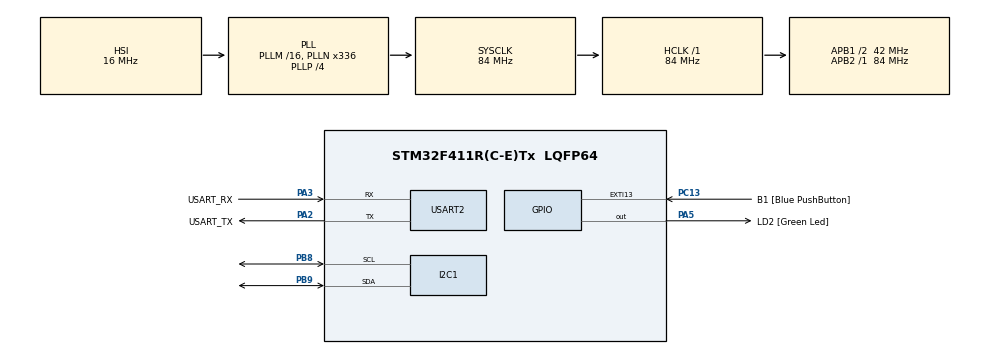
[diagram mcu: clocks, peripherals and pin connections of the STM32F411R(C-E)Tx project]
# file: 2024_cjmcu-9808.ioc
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Mcu.Family=STM32F4
Mcu.Name=STM32F411R(C-E)Tx
Mcu.Package=LQFP64
NVIC.PriorityGroup=NVIC_PRIORITYGROUP_0
PA13.GPIO_Label=TMS
PA13.Mode=Serial_Wire
PA13.Signal=SYS_JTMS-SWDIO
PA14.GPIO_Label=TCK
PA14.Mode=Serial_Wire
PA14.Signal=SYS_JTCK-SWCLK
PA2.GPIO_Label=USART_TX
PA2.Mode=Asynchronous
PA2.Signal=USART2_TX
PA3.GPIO_Label=USART_RX
PA3.Mode=Asynchronous
PA3.Signal=USART2_RX
PA5.GPIO_Label=LD2 [Green Led]
PA5.Signal=GPIO_Output
PB3.GPIO_Label=SWO
PB3.Signal=SYS_JTDO-SWO
PB8.Mode=I2C
PB8.Signal=I2C1_SCL
PB9.Mode=I2C
PB9.Signal=I2C1_SDA
PC13-ANTI_TAMP.GPIO_Label=B1 [Blue PushButton]
PC13-ANTI_TAMP.GPIO_ModeDefaultEXTI=GPIO_MODE_IT_FALLING
PC13-ANTI_TAMP.Signal=GPXTI13
PC14-OSC32_IN.Mode=LSE-External-Oscillator
PC14-OSC32_IN.Signal=RCC_OSC32_IN
PC15-OSC32_OUT.Mode=LSE-External-Oscillator
PC15-OSC32_OUT.Signal=RCC_OSC32_OUT
PH0\ -\ OSC_IN.Mode=HSE-External-Clock-Source
PH0\ -\ OSC_IN.Signal=RCC_OSC_IN
PH1\ -\ OSC_OUT.Mode=HSE-External-Clock-Source
PH1\ -\ OSC_OUT.Signal=RCC_OSC_OUT
ProjectManager.HeapSize=0x200
ProjectManager.StackSize=0x400
ProjectManager.TargetToolchain=STM32CubeIDE
RCC.48MHZClocksFreq_Value=84000000
RCC.AHBFreq_Value=84000000
RCC.APB1CLKDivider=RCC_HCLK_DIV2
RCC.APB1Freq_Value=42000000
RCC.APB1TimFreq_Value=84000000
RCC.APB2Freq_Value=84000000
RCC.APB2TimFreq_Value=84000000
RCC.CortexFreq_Value=84000000
RCC.FLatency-AdvancedSettings=FLASH_LATENCY_2
RCC.HCLKFreq_Value=84000000
RCC.HSE_VALUE=8000000
RCC.HSI_VALUE=16000000
RCC.PLLN=336
RCC.PLLP=RCC_PLLP_DIV4
RCC.SYSCLKFreq_VALUE=84000000
RCC.SYSCLKSource=RCC_SYSCLKSOURCE_PLLCLK
RCC.VCOOutputFreq_Value=336000000
USART2.VirtualMode=VM_ASYNC
board=NUCLEO-F411RE

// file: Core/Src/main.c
/*CJMCU connect vcc to 2.7 ~ 5.0, gnd, sda, scl*/

/* USER CODE BEGIN Header */
/**
 ******************************************************************************
 * @file           : main.c
 * @brief          : Main program body
 ******************************************************************************
 * @attention
 *
 * Copyright (c) 2024 STMicroelectronics.
 * All rights reserved.
 *
 * This software is licensed under terms that can be found in the LICENSE file
 * in the root directory of this software component.
 * If no LICENSE file comes with this software, it is provided AS-IS.
 *
 ******************************************************************************
 */
/* USER CODE END Header */
#include "main.h"

/* USER CODE BEGIN Includes */
#include <string.h>		//for strlen and string_copy
#include <stdio.h>		//for sprintf
/* USER CODE END Includes */

I2C_HandleTypeDef hi2c1;

UART_HandleTypeDef huart2;

/* USER CODE BEGIN PV */
static const uint8_t CJMCU_ADDR = 0x18 << 1; //default address

static const uint8_t AMBIENT_TEMPERATURE_REGISTER = 0x05; //0000 0101
/* USER CODE END PV */

void SystemClock_Config(void);
static void MX_GPIO_Init(void);
static void MX_USART2_UART_Init(void);
static void MX_I2C1_Init(void);
void decToBinary(int);
char buffer[40]; //buffer for sending and receiving data
uint8_t buffer_get_CJMCU[2]; //buffer for temperature reading

int16_t read_value_0CJMCU;	//raw value
int16_t read_value_FIXED_0CJMCU;
float read_value_FIXED_1CJMCU;
int16_t read_value_1CJMCU;
int16_t combinedCJMCU;
int16_t value_pos_negCJMCU;	//value_positive or negative
uint16_t read_value_BUF_0_INV_CJMCU;
uint16_t read_value_BUF_1_INV_CJMCU;
uint16_t read_value_inv_CJMCU;
uint8_t five_bits_of_readed_first_byte_CJMCU;

int main(void) {

	/* USER CODE BEGIN 1 */
	HAL_StatusTypeDef ret;

	float temp_in_c_all_CJMCU, temp_in_c_negative_CJMCU;
	unsigned short temp_c1_CJMCU;
	unsigned char sign_CJMCU;

	/* USER CODE END 1 */

	/* MCU Configuration--------------------------------------------------------*/

	/* Reset of all peripherals, Initializes the Flash interface and the Systick. */
	HAL_Init();

	/* Configure the system clock */
	SystemClock_Config();

	/* Initialize all configured peripherals */
	MX_GPIO_Init();
	MX_USART2_UART_Init();
	MX_I2C1_Init();

	/* Infinite loop */
	/* USER CODE BEGIN WHILE */
	while (1) {
		// Tell TMP102 that we want to read from the temperature register
		buffer_get_CJMCU[0] = AMBIENT_TEMPERATURE_REGISTER;
		ret = HAL_I2C_Master_Transmit(&hi2c1, CJMCU_ADDR, buffer_get_CJMCU, 1,
		HAL_MAX_DELAY);
		if (ret != HAL_OK) {
			strcpy((char*) buffer, "Error Tx\r\n");
		} else {

			// Read 2 bytes from the temperature register
			ret = HAL_I2C_Master_Receive(&hi2c1, CJMCU_ADDR, buffer_get_CJMCU, 2,
			HAL_MAX_DELAY);
			if (ret != HAL_OK) {
				strcpy((char*) buffer, "Error Rx\r\n");
			} else {

				//Read the bytes
				read_value_0CJMCU = ((int16_t) buffer_get_CJMCU[0] & ~(1 << 4) & ~(1 << 5)
						& ~(1 << 6) & ~(1 << 7));//because value is in first 4 bits
				read_value_1CJMCU = (int16_t) (buffer_get_CJMCU[1]);

				//create new variable because if we dont do it, program will do some errors and I can explain it
				read_value_FIXED_0CJMCU = read_value_0CJMCU;
				read_value_FIXED_1CJMCU = (float) read_value_1CJMCU;

				//to read temperature is positive or negative
				five_bits_of_readed_first_byte_CJMCU = (buffer_get_CJMCU[0] & ~(1 << 6)
						& ~(1 << 7) & ~(1 << 8));

				// If temperature will be negative it will be  over 0x0F by datasheet
				if (five_bits_of_readed_first_byte_CJMCU > 15) {
					sign_CJMCU = '-';

					//Convert the temperature data by datasheet (p.25)
					temp_in_c_negative_CJMCU = (read_value_FIXED_0CJMCU * 16)
							+ (read_value_FIXED_1CJMCU / 16);

					temp_in_c_all_CJMCU = 256 - temp_in_c_negative_CJMCU;
				} else {
					sign_CJMCU = '+';
					//Convert the temperature data by datasheet (p.25)
					temp_in_c_all_CJMCU = (read_value_FIXED_0CJMCU * 16)
							+ (read_value_FIXED_1CJMCU / 16);

				}
				// Convert temperature to decimal format
				temp_c1_CJMCU = temp_in_c_all_CJMCU * 100;

				sprintf(buffer, "CJMCU TEMPERATURE %c %d.%d  C\r\n", (sign_CJMCU),
						(temp_c1_CJMCU / 100), (temp_c1_CJMCU % 100));
				HAL_UART_Transmit(&huart2,(uint8_t*) buffer, sizeof(buffer),
						HAL_MAX_DELAY);
				// Wait
				HAL_Delay(500);

			}
		}

		/* USER CODE END WHILE */

	}
}

void SystemClock_Config(void) {
	RCC_OscInitTypeDef RCC_OscInitStruct = { 0 };
	RCC_ClkInitTypeDef RCC_ClkInitStruct = { 0 };

	/** Configure the main internal regulator output voltage
	 */
	__HAL_RCC_PWR_CLK_ENABLE();
	__HAL_PWR_VOLTAGESCALING_CONFIG(PWR_REGULATOR_VOLTAGE_SCALE1);

	/** Initializes the RCC Oscillators according to the specified parameters
	 * in the RCC_OscInitTypeDef structure.
	 */
	RCC_OscInitStruct.OscillatorType = RCC_OSCILLATORTYPE_HSI;
	RCC_OscInitStruct.HSIState = RCC_HSI_ON;
	RCC_OscInitStruct.HSICalibrationValue = RCC_HSICALIBRATION_DEFAULT;
	RCC_OscInitStruct.PLL.PLLState = RCC_PLL_ON;
	RCC_OscInitStruct.PLL.PLLSource = RCC_PLLSOURCE_HSI;
	RCC_OscInitStruct.PLL.PLLM = 16;
	RCC_OscInitStruct.PLL.PLLN = 336;
	RCC_OscInitStruct.PLL.PLLP = RCC_PLLP_DIV4;
	RCC_OscInitStruct.PLL.PLLQ = 4;
	if (HAL_RCC_OscConfig(&RCC_OscInitStruct) != HAL_OK) {
		Error_Handler();
	}

	/** Initializes the CPU, AHB and APB buses clocks
	 */
	RCC_ClkInitStruct.ClockType = RCC_CLOCKTYPE_HCLK | RCC_CLOCKTYPE_SYSCLK
			| RCC_CLOCKTYPE_PCLK1 | RCC_CLOCKTYPE_PCLK2;
	RCC_ClkInitStruct.SYSCLKSource = RCC_SYSCLKSOURCE_PLLCLK;
	RCC_ClkInitStruct.AHBCLKDivider = RCC_SYSCLK_DIV1;
	RCC_ClkInitStruct.APB1CLKDivider = RCC_HCLK_DIV2;
	RCC_ClkInitStruct.APB2CLKDivider = RCC_HCLK_DIV1;

	if (HAL_RCC_ClockConfig(&RCC_ClkInitStruct, FLASH_LATENCY_2) != HAL_OK) {
		Error_Handler();
	}
}

static void MX_I2C1_Init(void) {

	hi2c1.Instance = I2C1;
	hi2c1.Init.ClockSpeed = 100000;
	hi2c1.Init.DutyCycle = I2C_DUTYCYCLE_2;
	hi2c1.Init.OwnAddress1 = 0;
	hi2c1.Init.AddressingMode = I2C_ADDRESSINGMODE_7BIT;
	hi2c1.Init.DualAddressMode = I2C_DUALADDRESS_DISABLE;
	hi2c1.Init.OwnAddress2 = 0;
	hi2c1.Init.GeneralCallMode = I2C_GENERALCALL_DISABLE;
	hi2c1.Init.NoStretchMode = I2C_NOSTRETCH_DISABLE;
	if (HAL_I2C_Init(&hi2c1) != HAL_OK) {
		Error_Handler();
	}

}

static void MX_USART2_UART_Init(void) {

	huart2.Instance = USART2;
	huart2.Init.BaudRate = 115200;
	huart2.Init.WordLength = UART_WORDLENGTH_8B;
	huart2.Init.StopBits = UART_STOPBITS_1;
	huart2.Init.Parity = UART_PARITY_NONE;
	huart2.Init.Mode = UART_MODE_TX_RX;
	huart2.Init.HwFlowCtl = UART_HWCONTROL_NONE;
	huart2.Init.OverSampling = UART_OVERSAMPLING_16;
	if (HAL_UART_Init(&huart2) != HAL_OK) {
		Error_Handler();
	}

}

static void MX_GPIO_Init(void) {
	GPIO_InitTypeDef GPIO_InitStruct = { 0 };

	/* GPIO Ports Clock Enable */
	__HAL_RCC_GPIOC_CLK_ENABLE();
	__HAL_RCC_GPIOH_CLK_ENABLE();
	__HAL_RCC_GPIOA_CLK_ENABLE();
	__HAL_RCC_GPIOB_CLK_ENABLE();

	/*Configure GPIO pin Output Level */
	HAL_GPIO_WritePin(LD2_GPIO_Port, LD2_Pin, GPIO_PIN_RESET);

	/*Configure GPIO pin : B1_Pin */
	GPIO_InitStruct.Pin = B1_Pin;
	GPIO_InitStruct.Mode = GPIO_MODE_IT_FALLING;
	GPIO_InitStruct.Pull = GPIO_NOPULL;
	HAL_GPIO_Init(B1_GPIO_Port, &GPIO_InitStruct);

	/*Configure GPIO pin : LD2_Pin */
	GPIO_InitStruct.Pin = LD2_Pin;
	GPIO_InitStruct.Mode = GPIO_MODE_OUTPUT_PP;
	GPIO_InitStruct.Pull = GPIO_NOPULL;
	GPIO_InitStruct.Speed = GPIO_SPEED_FREQ_LOW;
	HAL_GPIO_Init(LD2_GPIO_Port, &GPIO_InitStruct);

}

void Error_Handler(void) {
	__disable_irq();
	while (1) {
	}
}
